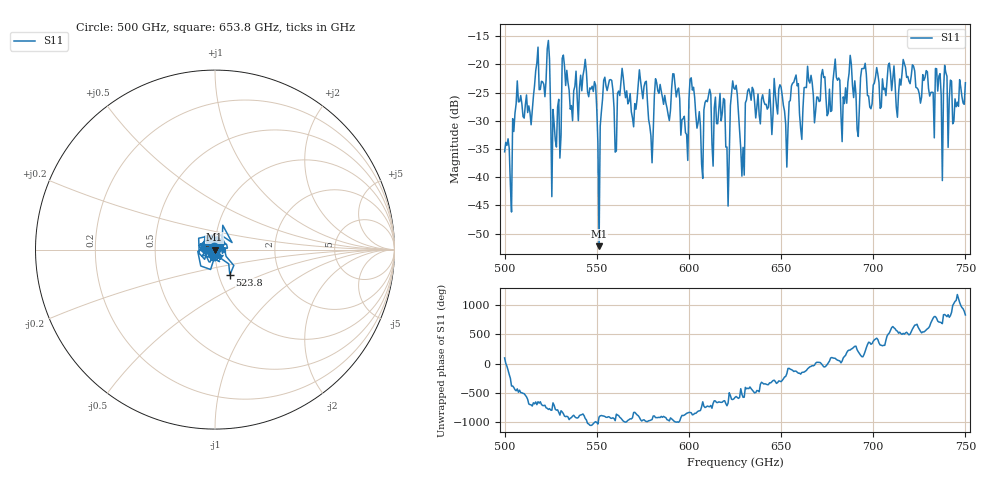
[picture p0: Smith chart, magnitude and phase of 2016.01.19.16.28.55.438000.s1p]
!Created with skrf (http://scikit-rf.org).
# GHz S RI R 50.0
!freq ReS11 ImS11
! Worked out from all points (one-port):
!   401 points, 500 GHz to 750 GHz, reference 50 ohm
!   lowest |S11| = -52.2 dB at 551.2 GHz (marker M1), VSWR 1.00, Z = 49.8 + j0.0381 ohm
!   |S11| at or under -10 dB: start of sweep to end of sweep
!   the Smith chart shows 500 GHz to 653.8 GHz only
!   S11 on the Smith chart (normalised r, x): 500 GHz: 0.99, +0.03; 523.8 GHz: 1.13, -0.33; 653.8 GHz: 1.01, -0.05
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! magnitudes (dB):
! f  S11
! 500 GHz  -35.5
! 523.8 GHz  -15.8
! 526.9 GHz  -30.5
! 531.2 GHz  -18.9
! 543.8 GHz  -19.1
! 551.2 GHz  -52.2
! 554.4 GHz  -22.3
! 562.5 GHz  -25.5
! 575.6 GHz  -23.9
! 579.4 GHz  -32.6
! 583.1 GHz  -24.7
! 593.8 GHz  -24.6
! 598.1 GHz  -32.1
! 601.9 GHz  -24.6
! 606.2 GHz  -30.9
! 618.1 GHz  -28.6
! 621.2 GHz  -45.1
! 625 GHz  -24.4
! 628.8 GHz  -39.8
! 633.1 GHz  -25.1
! 653.8 GHz  -31.5
! 656.2 GHz  -23.3
! 683.8 GHz  -25.8
! 687.5 GHz  -18.4
! 691.2 GHz  -31.5
! 694.4 GHz  -20.7
! 718.8 GHz  -22.1
! 750 GHz  -23.3
